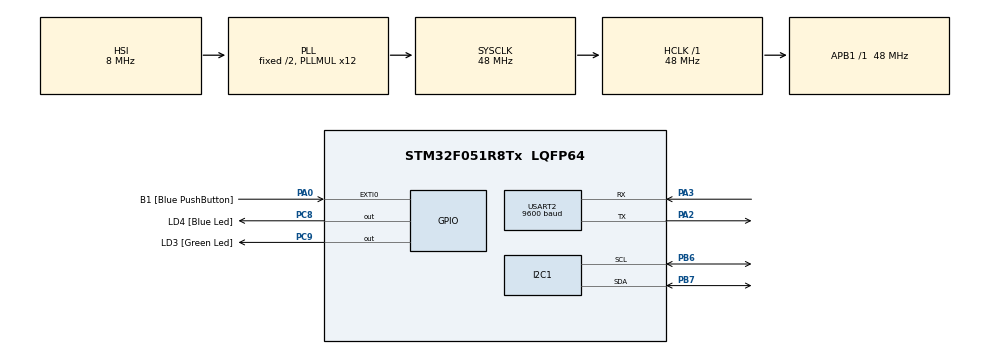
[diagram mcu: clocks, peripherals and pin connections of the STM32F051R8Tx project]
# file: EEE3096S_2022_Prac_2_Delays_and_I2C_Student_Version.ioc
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Dma.Request0=USART2_TX
Dma.USART2_TX.0.Direction=DMA_MEMORY_TO_PERIPH
Dma.USART2_TX.0.Instance=DMA1_Channel4
Dma.USART2_TX.0.MemDataAlignment=DMA_MDATAALIGN_BYTE
Dma.USART2_TX.0.MemInc=DMA_MINC_ENABLE
Dma.USART2_TX.0.Mode=DMA_NORMAL
Dma.USART2_TX.0.PeriphDataAlignment=DMA_PDATAALIGN_BYTE
Dma.USART2_TX.0.PeriphInc=DMA_PINC_DISABLE
Dma.USART2_TX.0.Priority=DMA_PRIORITY_LOW
Mcu.Family=STM32F0
Mcu.Name=STM32F051R8Tx
Mcu.Package=LQFP64
NVIC.DMA1_Channel4_5_IRQn=true\:0\:0\:false\:false\:true\:false\:true\:true
NVIC.USART2_IRQn=true\:0\:0\:false\:false\:true\:true\:true\:true
PA0.GPIO_Label=B1 [Blue PushButton]
PA0.GPIO_ModeDefaultEXTI=GPIO_MODE_EVT_RISING
PA0.Signal=GPXTI0
PA13.GPIO_Label=SWDIO
PA13.Mode=Serial_Wire
PA13.Signal=SYS_SWDIO
PA14.GPIO_Label=SWCLK
PA14.Mode=Serial_Wire
PA14.Signal=SYS_SWCLK
PA2.Mode=Asynchronous
PA2.Signal=USART2_TX
PA3.Mode=Asynchronous
PA3.Signal=USART2_RX
PB6.Mode=I2C
PB6.Signal=I2C1_SCL
PB7.Mode=I2C
PB7.Signal=I2C1_SDA
PC8.GPIO_Label=LD4 [Blue Led]
PC8.Signal=GPIO_Output
PC9.GPIO_Label=LD3 [Green Led]
PC9.Signal=GPIO_Output
PF0-OSC_IN.Mode=HSE-External-Oscillator
PF0-OSC_IN.Signal=RCC_OSC_IN
PF1-OSC_OUT.Mode=HSE-External-Oscillator
PF1-OSC_OUT.Signal=RCC_OSC_OUT
ProjectManager.HeapSize=0x200
ProjectManager.StackSize=0x400
ProjectManager.TargetToolchain=STM32CubeIDE
RCC.AHBFreq_Value=48000000
RCC.APB1Freq_Value=48000000
RCC.APB1TimFreq_Value=48000000
RCC.HCLKFreq_Value=48000000
RCC.PLLMUL=RCC_PLL_MUL12
RCC.SYSCLKFreq_VALUE=48000000
RCC.SYSCLKSource=RCC_SYSCLKSOURCE_PLLCLK
USART2.BaudRate=9600
USART2.VirtualMode-Asynchronous=VM_ASYNC
board=STM32F0DISCOVERY

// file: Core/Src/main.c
/* USER CODE BEGIN Header */
/**
*************************************
Info:		STM32 I2C with DS3231 HAL
Author:		Amaan Vally
*************************************
In this practical you will learn to use I2C on the STM32 using the HAL. Here, we will
be interfacing with a DS3231 RTC. We also create functions to convert the data between Binary
Coded Decimal (BCD) and decimal.

Code is also provided to send data from the STM32 to other devices using UART protocol
by using HAL. You will need Putty or a Python script to read from the serial port on your PC.

UART Connections are as follows: red->5V black->GND white(TX)->PA2 green(RX;unused)->PA3.
Open device manager and go to Ports. Plug in the USB connector with the STM powered on. Check the port number (COMx).
Open up Putty and create a new Serial session on that COMx with baud rate of 9600.

https://www.youtube.com/watch?v=EEsI9MxndbU&list=PLfIJKC1ud8ghc4eFhI84z_3p3Ap2MCMV-&index=4

RTC Connections: (+)->5V (-)->GND D->PB7 (I2C1_SDA) C->PB6 (I2C1_SCL)
  ******************************************************************************
  */
/* USER CODE END Header */
#include "main.h"

/* USER CODE BEGIN Includes */
#include "stdio.h"
#include "string.h"
/* USER CODE END Includes */

/* USER CODE BEGIN PTD */
typedef struct {
	uint8_t seconds;
	uint8_t minutes;
	uint8_t hour;
	uint8_t dayofweek;
	uint8_t dayofmonth;
	uint8_t month;
	uint8_t year;
} TIME;

/* USER CODE END PTD */

/* USER CODE BEGIN PD */
//TO DO:
//TASK 2
//Give DELAY1 and DELAY2 sensible values
#define DELAY1 630
#define DELAY2 110

//TO DO:
//TASK 4
//Define the RTC slave address
#define DS3231_ADDRESS 0xD0 //0b1101000
#define REG_SIZE 0x01
#define FIRST_REG 0x00

#define EPOCH_2022 1640988000
/* USER CODE END PD */

I2C_HandleTypeDef hi2c1;

UART_HandleTypeDef huart2;
DMA_HandleTypeDef hdma_usart2_tx;

/* USER CODE BEGIN PV */
char buffer[14];
uint8_t data [] = "Hello from STM32!\r\n";
TIME time;
char tmpRtc[31]; // this is a string used for formating RTC time to print to screen

/* USER CODE END PV */

void SystemClock_Config(void);
static void MX_GPIO_Init(void);
static void MX_I2C1_Init(void);
static void MX_DMA_Init(void);
static void MX_USART2_UART_Init(void);
/* USER CODE BEGIN PFP */
void HAL_UART_TxCpltCllback(UART_HandleTypeDef *huart);
void pause_sec(float x);

uint8_t decToBcd(int val);
int bcdToDec(uint8_t val);
void setTime (uint8_t sec, uint8_t min, uint8_t hour, uint8_t dow, uint8_t dom, uint8_t month, uint8_t year);
void getTime (void);
int epochFromTime(TIME time);

/* USER CODE END PFP */

int main(void){

  /* MCU Configuration--------------------------------------------------------*/

  /* Reset of all peripherals, Initializes the Flash interface and the Systick. */
  HAL_Init();

  /* Configure the system clock */
  SystemClock_Config();

  /* Initialize all configured peripherals */
  MX_GPIO_Init();
  MX_I2C1_Init();
  MX_DMA_Init();
  MX_USART2_UART_Init();

  /* USER CODE BEGIN 2 */

  //TO DO
  //TASK 6
  //setTime(0,0,12,2,20,9,22); //set the date to something random.

  /* USER CODE END 2 */

  /* Infinite loop */
  while (1)
  {
	//TASK 1
	//First run this with nothing else in the loop and scope pin PC8 on an oscilloscope
	//This toggles the pin on and off after the delay specified in pause
    HAL_GPIO_TogglePin(GPIOC, GPIO_PIN_8);
	pause_sec(2);

	// adding a 1 second delay

	//TASK 6
	//get the current time
	getTime();

	uint8_t epoch[25]; //initialize array to store epoch time
	uint8_t rtc[36]; //write the epoch time (formatted) to the array

	//get epoch time using epochFromTime function defined in this file
	rtcPrint(time);
	sprintf(rtc, "\r\n RTC: %s\r\n", tmpRtc);
	sprintf(epoch, "\r\n Epoch: %d\r\n\r\n", epochFromTime(time));

	//transmit the array containing the epoch time over UART

	HAL_UART_Transmit(&huart2, rtc, sizeof(rtc), 1000);
	HAL_UART_Transmit(&huart2, epoch, sizeof(epoch), 1000);

  }
}

void SystemClock_Config(void)
{
  RCC_OscInitTypeDef RCC_OscInitStruct = {0};
  RCC_ClkInitTypeDef RCC_ClkInitStruct = {0};
  RCC_PeriphCLKInitTypeDef PeriphClkInit = {0};

  /** Initializes the RCC Oscillators according to the specified parameters
  * in the RCC_OscInitTypeDef structure.
  */
  RCC_OscInitStruct.OscillatorType = RCC_OSCILLATORTYPE_HSI;
  RCC_OscInitStruct.HSIState = RCC_HSI_ON;
  RCC_OscInitStruct.HSICalibrationValue = RCC_HSICALIBRATION_DEFAULT;
  RCC_OscInitStruct.PLL.PLLState = RCC_PLL_ON;
  RCC_OscInitStruct.PLL.PLLSource = RCC_PLLSOURCE_HSI;
  RCC_OscInitStruct.PLL.PLLMUL = RCC_PLL_MUL12;
  RCC_OscInitStruct.PLL.PREDIV = RCC_PREDIV_DIV1;
  if (HAL_RCC_OscConfig(&RCC_OscInitStruct) != HAL_OK)
  {
    Error_Handler();
  }

  /** Initializes the CPU, AHB and APB buses clocks
  */
  RCC_ClkInitStruct.ClockType = RCC_CLOCKTYPE_HCLK|RCC_CLOCKTYPE_SYSCLK
                              |RCC_CLOCKTYPE_PCLK1;
  RCC_ClkInitStruct.SYSCLKSource = RCC_SYSCLKSOURCE_PLLCLK;
  RCC_ClkInitStruct.AHBCLKDivider = RCC_SYSCLK_DIV1;
  RCC_ClkInitStruct.APB1CLKDivider = RCC_HCLK_DIV1;

  if (HAL_RCC_ClockConfig(&RCC_ClkInitStruct, FLASH_LATENCY_1) != HAL_OK)
  {
    Error_Handler();
  }
  PeriphClkInit.PeriphClockSelection = RCC_PERIPHCLK_I2C1;
  PeriphClkInit.I2c1ClockSelection = RCC_I2C1CLKSOURCE_HSI;
  if (HAL_RCCEx_PeriphCLKConfig(&PeriphClkInit) != HAL_OK)
  {
    Error_Handler();
  }
}

static void MX_I2C1_Init(void)
{

  hi2c1.Instance = I2C1;
  hi2c1.Init.Timing = 0x2000090E;
  hi2c1.Init.OwnAddress1 = 0;
  hi2c1.Init.AddressingMode = I2C_ADDRESSINGMODE_7BIT;
  hi2c1.Init.DualAddressMode = I2C_DUALADDRESS_DISABLE;
  hi2c1.Init.OwnAddress2 = 0;
  hi2c1.Init.OwnAddress2Masks = I2C_OA2_NOMASK;
  hi2c1.Init.GeneralCallMode = I2C_GENERALCALL_DISABLE;
  hi2c1.Init.NoStretchMode = I2C_NOSTRETCH_DISABLE;
  if (HAL_I2C_Init(&hi2c1) != HAL_OK)
  {
    Error_Handler();
  }

  /** Configure Analogue filter
  */
  if (HAL_I2CEx_ConfigAnalogFilter(&hi2c1, I2C_ANALOGFILTER_ENABLE) != HAL_OK)
  {
    Error_Handler();
  }

  /** Configure Digital filter
  */
  if (HAL_I2CEx_ConfigDigitalFilter(&hi2c1, 0) != HAL_OK)
  {
    Error_Handler();
  }

}

static void MX_USART2_UART_Init(void)
{

  huart2.Instance = USART2;
  huart2.Init.BaudRate = 9600;
  huart2.Init.WordLength = UART_WORDLENGTH_8B;
  huart2.Init.StopBits = UART_STOPBITS_1;
  huart2.Init.Parity = UART_PARITY_NONE;
  huart2.Init.Mode = UART_MODE_TX_RX;
  huart2.Init.HwFlowCtl = UART_HWCONTROL_NONE;
  huart2.Init.OverSampling = UART_OVERSAMPLING_16;
  huart2.Init.OneBitSampling = UART_ONE_BIT_SAMPLE_DISABLE;
  huart2.AdvancedInit.AdvFeatureInit = UART_ADVFEATURE_NO_INIT;
  if (HAL_UART_Init(&huart2) != HAL_OK)
  {
    Error_Handler();
  }

}

static void MX_DMA_Init(void)
{

  /* DMA controller clock enable */
  __HAL_RCC_DMA1_CLK_ENABLE();

  /* DMA interrupt init */
  /* DMA1_Channel4_5_IRQn interrupt configuration */
  HAL_NVIC_SetPriority(DMA1_Channel4_5_IRQn, 0, 0);
  HAL_NVIC_EnableIRQ(DMA1_Channel4_5_IRQn);

}

static void MX_GPIO_Init(void)
{
  GPIO_InitTypeDef GPIO_InitStruct = {0};

  /* GPIO Ports Clock Enable */
  __HAL_RCC_GPIOF_CLK_ENABLE();
  __HAL_RCC_GPIOA_CLK_ENABLE();
  __HAL_RCC_GPIOC_CLK_ENABLE();
  __HAL_RCC_GPIOB_CLK_ENABLE();

  /*Configure GPIO pin Output Level */
  HAL_GPIO_WritePin(GPIOC, LD4_Pin|LD3_Pin, GPIO_PIN_RESET);

  /*Configure GPIO pin : B1_Pin */
  GPIO_InitStruct.Pin = B1_Pin;
  GPIO_InitStruct.Mode = GPIO_MODE_EVT_RISING;
  GPIO_InitStruct.Pull = GPIO_NOPULL;
  HAL_GPIO_Init(B1_GPIO_Port, &GPIO_InitStruct);

  /*Configure GPIO pins : LD4_Pin LD3_Pin */
  GPIO_InitStruct.Pin = LD4_Pin|LD3_Pin;
  GPIO_InitStruct.Mode = GPIO_MODE_OUTPUT_PP;
  GPIO_InitStruct.Pull = GPIO_NOPULL;
  GPIO_InitStruct.Speed = GPIO_SPEED_FREQ_LOW;
  HAL_GPIO_Init(GPIOC, &GPIO_InitStruct);

}

/* USER CODE BEGIN 4 */
void pause_sec(float x)
{
	/* Delay program execution for x seconds */
	//TASK 2

	//declare loop variables
	int i, j, k= 0;

	/*
	 * run through 2 for loops incrementing counter to ensure loop runs (no actual impact on code)
	 * Delay 1 * Delay 2 delays for 1 second.
	 * Multiplying by x gives the delay for x seconds
	 */
	for (i = 0; i < DELAY1; i++) {
		for(j = 0; j < DELAY2*x; j++) { //
			k++; // this is added to ensure that the loop does run
		}
	}
}

uint8_t decToBcd(int val)
{
    /* Convert normal decimal numbers to binary coded decimal*/
	//TASK 3

	/* calculate the BCD value by shifting the decimal value right 4 bits, multiplying
	 * that result by 10 and adding that to the dec value anded with 1111(binary (= 0F in hex)) */
    uint8_t bcd = ((val/10) <<4)+ (val % 10);
	return bcd;

}

int bcdToDec(uint8_t val)
{
    /* Convert binary coded decimal to normal decimal numbers */
	//TASK 3

	/* BCD to DEC calculation explained:
	 * calculate the decimal value from the BCD value by dividing the dec value by 10 and
	 * shifting the result 4 bits left. The result of this is added to the value of the BCD
	 * value mod 10 (remainder when dividing by 10)
	 */
	uint8_t dec = (val>>4) * 10 + (val & 0x0F);
    return dec;

}

void setTime (uint8_t sec, uint8_t min, uint8_t hour, uint8_t dow, uint8_t dom, uint8_t month, uint8_t year)
{
    /* Write the time to the RTC using I2C */
	//TASK 4
    uint8_t set_time[7]; // create the array to store the time in

    // fill the array with the values given via function arguments
    // values must be converted from decimal to BCD
    set_time[0]=decToBcd(sec);
    set_time[1]=decToBcd(min);
    set_time[2]=decToBcd(hour);
    set_time[3]=decToBcd(dow);
    set_time[4]=decToBcd(dom);
    set_time[5]=decToBcd(month);
    set_time[6]=decToBcd(year);

    // Write the array storing time to memory
    // DS3231_ADDRES is defined in constants as 0xD0, REG_SIZE is defined as 1,  FIRST_REG is defined as 0
    HAL_I2C_Mem_Write(&hi2c1, DS3231_ADDRESS, FIRST_REG, REG_SIZE, set_time, 7, 1000);

}

void getTime (void)
{
    /* Get the time from the RTC using I2C */
	//TASK 4
	uint8_t get_time[7]; // array to store RTC time in

	//Read the time from memory
	//DS3231_ADDRES is defined in constants as 0xD0, REG_SIZE is defined as 1,  FIRST_REG is defined as 0
	HAL_I2C_Mem_Read(&hi2c1, DS3231_ADDRESS, FIRST_REG, REG_SIZE, get_time, 7, 1000);

	//Update the TIME structure using the values from the array above
	//values must be converted from BCD to decimal
	time.seconds=bcdToDec(get_time[0]);
	time.minutes=bcdToDec(get_time[1]);
	time.hour=bcdToDec(get_time[2]);
	time.dayofweek=bcdToDec(get_time[3]);
	time.dayofmonth=bcdToDec(get_time[4]);
	time.month=bcdToDec(get_time[5]);
	time.year=bcdToDec(get_time[6]);

}

int epochFromTime(TIME time){
    /* Convert time to UNIX epoch time (leap years are ignored and 2022 is used as reference)*/
	//TASK 5

	//extract the individual parts of the time structure
	uint8_t s = time.seconds;
	uint8_t min = time.minutes;
	uint8_t h = time.hour;
	uint8_t dow = time.dayofweek;
	uint8_t dom = time.dayofmonth;
	uint8_t month = time.month;
	uint8_t year = time.year;

	//add the day of the month to total days
	uint8_t totDays = dom;

	/*
	 * Switch statement to add the number of days in between a day
	 */
	//add number of days for all the months before that month
	switch(month){
		case 1:
			break;
		case 2:
			totDays += 31;
			break;
		case 3:
			totDays += (31+28);
			break;
		case 4:
			totDays += (31*2+28);
			break;
		case 5:
			totDays += (31*2+28+30);
			break;
		case 6:
			totDays += (31*3+28+30);
			break;
		case 7:
			totDays += (31*3+28+30*2);
			break;
		case 8:
			totDays += (31*4+28+30*2);
			break;
		case 9:
			totDays += (31*5+28+30*2);
			break;
		case 10:
			totDays += (31*5+28+30*3);
			break;
		case 11:
			totDays += (31*6+28+30*3);
			break;
	    case 12:
	    	totDays += (31*6+28+30*4);
	    	break;
		default:
			totDays = totDays;
	}

	//add up the total seconds from Saturday, January 1, 2022 12:00:00 AM GMT+02:00 until given time
	//there are 31536000 seconds in a year, 86400 seconds in a day, 3600 seconds in an hour and 60
	//seconds in a minute
	int totSec = (year-22)*31536000 + (totDays*86400) + (h*3600) + (min*60) + s;

	/* return the sum of the epoch time on Saturday, January 1, 2022 12:00:00 AM GMT+02:00 and the total
	 * seconds after that */

	return (EPOCH_2022 + totSec) ;
}

void rtcPrint(TIME time) {
	/* Format RTC time to nice string representation for UART transmission*/
	// Task 6

	//extract the individual parts of the time structure
	uint8_t s = time.seconds;
	uint8_t min = time.minutes;
	uint8_t h = time.hour;
	uint8_t dow = time.dayofweek;
	uint8_t dom = time.dayofmonth;
	uint8_t month = time.month;
	uint8_t year = time.year;

	/*
	 * tmpRtc holds the formatted RTC time to be transmitted over UART and printed to screen.
	 *
	 * Switch statement formats the RTC time with correct day of week.
	 */
	switch(dow){
		case 1: {
			sprintf(tmpRtc, "Monday, %02d/%02d/%02d, %02d:%02d:%02d    \n", dom, month, year, h, min, s);
			break;
		}
		case 2: {
			sprintf(tmpRtc, "Tuesday, %02d/%02d/%02d, %02d:%02d:%02d   \n", dom, month, year, h, min, s);
			break;
		}
		case 3: {
			sprintf(tmpRtc, "Wednesday, %02d/%02d/%02d, %02d:%02d:%02d \n", dom, month, year, h, min, s);
			break;
		}
		case 4: {
			sprintf(tmpRtc, "Thursday, %02d/%02d/%02d, %02d:%02d:%02d  \n", dom, month, year, h, min, s);
			break;
		}
		case 5: {
			sprintf(tmpRtc, "Friday, %02d/%02d/%02d, %02d:%02d:%02d    \n", dom, month, year, h, min, s);
			break;
		}
		case 6: {
			sprintf(tmpRtc, "Saturday, %02d/%02d/%02d, %02d:%02d:%02d  \n", dom, month, year, h, min, s);
			break;
		}
		case 7: {
			sprintf(tmpRtc, "Sunday, %02d/%02d/%02d, %02d:%02d:%02d    \n", dom, month, year, h, min, s);
			break;
		}
		default: {
			sprintf(tmpRtc, "%02d/%02d/%02d, %02d:%02d:%02d            \n", dom, month, year, h, min, s);
		}
	}
	return;
}

/* USER CODE END 4 */

void Error_Handler(void)
{
  __disable_irq();
  while (1)
  {
  }
}
